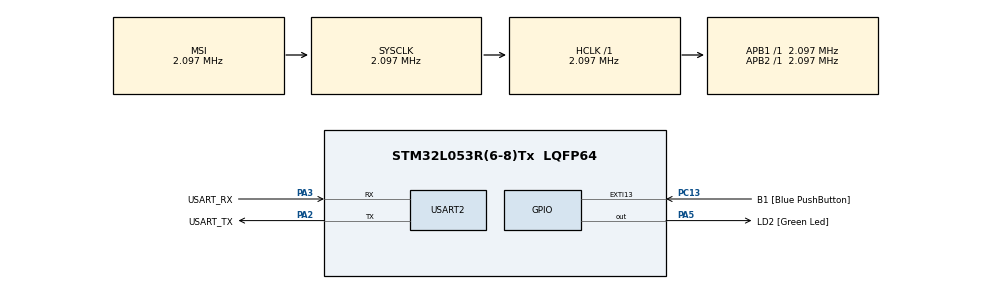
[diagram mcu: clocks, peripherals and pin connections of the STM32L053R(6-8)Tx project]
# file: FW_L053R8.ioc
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Mcu.Family=STM32L0
Mcu.Name=STM32L053R(6-8)Tx
Mcu.Package=LQFP64
PA13.GPIO_Label=TMS
PA13.Mode=Serial_Wire
PA13.Signal=SYS_SWDIO
PA14.GPIO_Label=TCK
PA14.Mode=Serial_Wire
PA14.Signal=SYS_SWCLK
PA2.GPIO_Label=USART_TX
PA2.Mode=Asynchronous
PA2.Signal=USART2_TX
PA3.GPIO_Label=USART_RX
PA3.Mode=Asynchronous
PA3.Signal=USART2_RX
PA5.GPIO_Label=LD2 [Green Led]
PA5.Signal=GPIO_Output
PC13.GPIO_Label=B1 [Blue PushButton]
PC13.GPIO_ModeDefaultEXTI=GPIO_MODE_IT_FALLING
PC13.Signal=GPXTI13
PC14-OSC32_IN.Mode=LSE-External-Oscillator
PC14-OSC32_IN.Signal=RCC_OSC32_IN
PC15-OSC32_OUT.Mode=LSE-External-Oscillator
PC15-OSC32_OUT.Signal=RCC_OSC32_OUT
PH0-OSC_IN.Mode=HSE-External-Clock-Source
PH0-OSC_IN.Signal=RCC_OSC_IN
PH1-OSC_OUT.Signal=RCC_OSC_OUT
ProjectManager.HeapSize=0x200
ProjectManager.StackSize=0x400
ProjectManager.TargetToolchain=STM32CubeIDE
RCC.AHBFreq_Value=2097000
RCC.APB1Freq_Value=2097000
RCC.APB1TimFreq_Value=2097000
RCC.APB2Freq_Value=2097000
RCC.APB2TimFreq_Value=2097000
RCC.HSE_VALUE=8000000
RCC.HSI16_VALUE=16000000
RCC.HSI48_VALUE=48000000
RCC.HSI_VALUE=16000000
RCC.MSI_VALUE=2097000
RCC.SYSCLKFreq_VALUE=2097000
RCC.VCOOutputFreq_Value=48000000
USART2.VirtualMode-Asynchronous=VM_ASYNC
board=NUCLEO-L053R8

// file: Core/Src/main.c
/* USER CODE BEGIN Header */
/**
  ******************************************************************************
  * @file           : main.c
  * @brief          : Main program body
  ******************************************************************************
  * @attention
  *
  * Copyright (c) 2024 STMicroelectronics.
  * All rights reserved.
  *
  * This software is licensed under terms that can be found in the LICENSE file
  * in the root directory of this software component.
  * If no LICENSE file comes with this software, it is provided AS-IS.
  *
  ******************************************************************************
  */
/* USER CODE END Header */
#include "main.h"

/* USER CODE BEGIN Includes */
#include <stdio.h>
#include <string.h>
/* USER CODE END Includes */

/* USER CODE BEGIN PD */
#define LENGHT_BUFFER 250

/* USER CODE END PD */

UART_HandleTypeDef huart2;

/* USER CODE BEGIN PV */
const char* STRING_HELLO_WORLD= "HELLO WORLD!! \n\r";
const char* STRING_HELLO_WORLD2= "HELLO WORLD!! \n\r";
const char* STRING_NUMBER_CYCLES = "NUMBER OF CYCLES PERFORMED: %d   \n\r";
/* */
static uint16_t cycle_counter;
static char buffer[LENGHT_BUFFER];

/* USER CODE END PV */

void SystemClock_Config(void);
static void MX_GPIO_Init(void);
static void MX_USART2_UART_Init(void);
/* USER CODE BEGIN PFP */
#define PUTCHAR_PROTOTYPE int __io_putchar(int ch)
/* USER CODE END PFP */

int main(void)
{

  /* MCU Configuration--------------------------------------------------------*/

  /* Reset of all peripherals, Initializes the Flash interface and the Systick. */
  HAL_Init();

  /* Configure the system clock */
  SystemClock_Config();

  /* Initialize all configured peripherals */
  MX_GPIO_Init();
  MX_USART2_UART_Init();

  /* Infinite loop */
  while (1)
  {

    /* USER CODE BEGIN 3 */
	HAL_GPIO_TogglePin(LD2_GPIO_Port, LD2_Pin);
	HAL_Delay(500);
	cycle_counter ++;

	/* print string to uart using buffer  */
	memset(buffer, 0, sizeof(buffer));
	strcpy(&buffer[0], STRING_HELLO_WORLD);
	uint16_t sizeBuffer = strlen(&buffer[0]);
	HAL_UART_Transmit(&huart2, (const uint8_t*)buffer, sizeBuffer ,100);

	/* print string to uart using prtinf  */
	//printf(STRING_NUMBER_CYCLES, cycle_counter);

	/* use sprintf */
	sprintf(buffer, "%s \n\r   Oggetto_1=0x%x \n\r   Oggetto_2=%d \n\r\n\r", STRING_HELLO_WORLD2, cycle_counter, cycle_counter);
	HAL_UART_Transmit(&huart2, (const uint8_t*)buffer, 200 ,100);

  }
  /* USER CODE END 3 */
}

void SystemClock_Config(void)
{
  RCC_OscInitTypeDef RCC_OscInitStruct = {0};
  RCC_ClkInitTypeDef RCC_ClkInitStruct = {0};
  RCC_PeriphCLKInitTypeDef PeriphClkInit = {0};

  /** Configure the main internal regulator output voltage
  */
  __HAL_PWR_VOLTAGESCALING_CONFIG(PWR_REGULATOR_VOLTAGE_SCALE1);

  /** Initializes the RCC Oscillators according to the specified parameters
  * in the RCC_OscInitTypeDef structure.
  */
  RCC_OscInitStruct.OscillatorType = RCC_OSCILLATORTYPE_MSI;
  RCC_OscInitStruct.MSIState = RCC_MSI_ON;
  RCC_OscInitStruct.MSICalibrationValue = 0;
  RCC_OscInitStruct.MSIClockRange = RCC_MSIRANGE_5;
  RCC_OscInitStruct.PLL.PLLState = RCC_PLL_NONE;
  if (HAL_RCC_OscConfig(&RCC_OscInitStruct) != HAL_OK)
  {
    Error_Handler();
  }

  /** Initializes the CPU, AHB and APB buses clocks
  */
  RCC_ClkInitStruct.ClockType = RCC_CLOCKTYPE_HCLK|RCC_CLOCKTYPE_SYSCLK
                              |RCC_CLOCKTYPE_PCLK1|RCC_CLOCKTYPE_PCLK2;
  RCC_ClkInitStruct.SYSCLKSource = RCC_SYSCLKSOURCE_MSI;
  RCC_ClkInitStruct.AHBCLKDivider = RCC_SYSCLK_DIV1;
  RCC_ClkInitStruct.APB1CLKDivider = RCC_HCLK_DIV1;
  RCC_ClkInitStruct.APB2CLKDivider = RCC_HCLK_DIV1;

  if (HAL_RCC_ClockConfig(&RCC_ClkInitStruct, FLASH_LATENCY_0) != HAL_OK)
  {
    Error_Handler();
  }
  PeriphClkInit.PeriphClockSelection = RCC_PERIPHCLK_USART2;
  PeriphClkInit.Usart2ClockSelection = RCC_USART2CLKSOURCE_PCLK1;
  if (HAL_RCCEx_PeriphCLKConfig(&PeriphClkInit) != HAL_OK)
  {
    Error_Handler();
  }
}

static void MX_USART2_UART_Init(void)
{

  huart2.Instance = USART2;
  huart2.Init.BaudRate = 115200;
  huart2.Init.WordLength = UART_WORDLENGTH_8B;
  huart2.Init.StopBits = UART_STOPBITS_1;
  huart2.Init.Parity = UART_PARITY_NONE;
  huart2.Init.Mode = UART_MODE_TX_RX;
  huart2.Init.HwFlowCtl = UART_HWCONTROL_NONE;
  huart2.Init.OverSampling = UART_OVERSAMPLING_16;
  huart2.Init.OneBitSampling = UART_ONE_BIT_SAMPLE_DISABLE;
  huart2.AdvancedInit.AdvFeatureInit = UART_ADVFEATURE_NO_INIT;
  if (HAL_UART_Init(&huart2) != HAL_OK)
  {
    Error_Handler();
  }

}

static void MX_GPIO_Init(void)
{
  GPIO_InitTypeDef GPIO_InitStruct = {0};

  /* GPIO Ports Clock Enable */
  __HAL_RCC_GPIOC_CLK_ENABLE();
  __HAL_RCC_GPIOH_CLK_ENABLE();
  __HAL_RCC_GPIOA_CLK_ENABLE();

  /*Configure GPIO pin Output Level */
  HAL_GPIO_WritePin(LD2_GPIO_Port, LD2_Pin, GPIO_PIN_RESET);

  /*Configure GPIO pin : B1_Pin */
  GPIO_InitStruct.Pin = B1_Pin;
  GPIO_InitStruct.Mode = GPIO_MODE_IT_FALLING;
  GPIO_InitStruct.Pull = GPIO_NOPULL;
  HAL_GPIO_Init(B1_GPIO_Port, &GPIO_InitStruct);

  /*Configure GPIO pin : LD2_Pin */
  GPIO_InitStruct.Pin = LD2_Pin;
  GPIO_InitStruct.Mode = GPIO_MODE_OUTPUT_PP;
  GPIO_InitStruct.Pull = GPIO_NOPULL;
  GPIO_InitStruct.Speed = GPIO_SPEED_FREQ_LOW;
  HAL_GPIO_Init(LD2_GPIO_Port, &GPIO_InitStruct);

}

/* USER CODE BEGIN 4 */
/**
  * @brief  Retargets the C library printf function to the USART.
  *   None
  * @retval None
  */
PUTCHAR_PROTOTYPE
{
  /* Place your implementation of fputc here */
  /* e.g. write a character to the USART2 and Loop until the end of transmission */
  HAL_UART_Transmit(&huart2, (uint8_t *)&ch, 1, 0xFFFF);

  return ch;
}
/* USER CODE END 4 */

void Error_Handler(void)
{
  __disable_irq();
  while (1)
  {
  }
}
